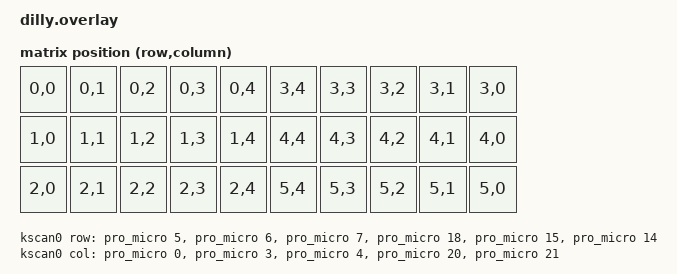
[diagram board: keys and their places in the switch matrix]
/*
 * Copyright (c) 2021 purple-rw
 *
 * SPDX-License-Identifier: MIT
 *
 * Note: The nice!nano v2 is pushed in ~2.54mm so that it does not stick out from the PCB.
 *       However, the first 4 pins near the USB-C port from each side are still connected
 *       to the same location, so the pins need to be slanted.
 */

#include <dt-bindings/zmk/matrix_transform.h>

/ {
    chosen {
        zmk,kscan = &kscan0;
        zmk,matrix_transform = &default_transform;
        zmk,underglow = &led_strip;
        /* zmk,backlight = &backlight; */
    };

    default_transform: keymap_transform_0 {
        compatible = "zmk,matrix-transform";
        columns = <5>;
        rows = <6>;

        map = <
            RC(0,0) RC(0,1) RC(0,2) RC(0,3) RC(0,4) RC(3,4) RC(3,3) RC(3,2) RC(3,1) RC(3,0)
            RC(1,0) RC(1,1) RC(1,2) RC(1,3) RC(1,4) RC(4,4) RC(4,3) RC(4,2) RC(4,1) RC(4,0)
            RC(2,0) RC(2,1) RC(2,2) RC(2,3) RC(2,4) RC(5,4) RC(5,3) RC(5,2) RC(5,1) RC(5,0)
        >;
    };

    kscan0: kscan_0 {
        compatible = "zmk,kscan-gpio-matrix";
        label = "KSCAN";
        diode-direction = "col2row";

        col-gpios
            = <&pro_micro 0  GPIO_ACTIVE_HIGH>
            , <&pro_micro 3  GPIO_ACTIVE_HIGH>
            , <&pro_micro 4  GPIO_ACTIVE_HIGH>
            , <&pro_micro 20 GPIO_ACTIVE_HIGH>
            , <&pro_micro 21 GPIO_ACTIVE_HIGH>
            ;

        row-gpios
            = <&pro_micro 5  (GPIO_ACTIVE_HIGH | GPIO_PULL_DOWN)>
            , <&pro_micro 6  (GPIO_ACTIVE_HIGH | GPIO_PULL_DOWN)>
            , <&pro_micro 7  (GPIO_ACTIVE_HIGH | GPIO_PULL_DOWN)>
            , <&pro_micro 18 (GPIO_ACTIVE_HIGH | GPIO_PULL_DOWN)>
            , <&pro_micro 15 (GPIO_ACTIVE_HIGH | GPIO_PULL_DOWN)>
            , <&pro_micro 14 (GPIO_ACTIVE_HIGH | GPIO_PULL_DOWN)>
            ;
    };
    
    /*
    backlight: pwmleds {
        compatible = "pwm-leds";
        label = "Backlight LEDs";
        pwm_led_0 {
            pwms = <&pwm0 36>;
        };
    };
    */
};
